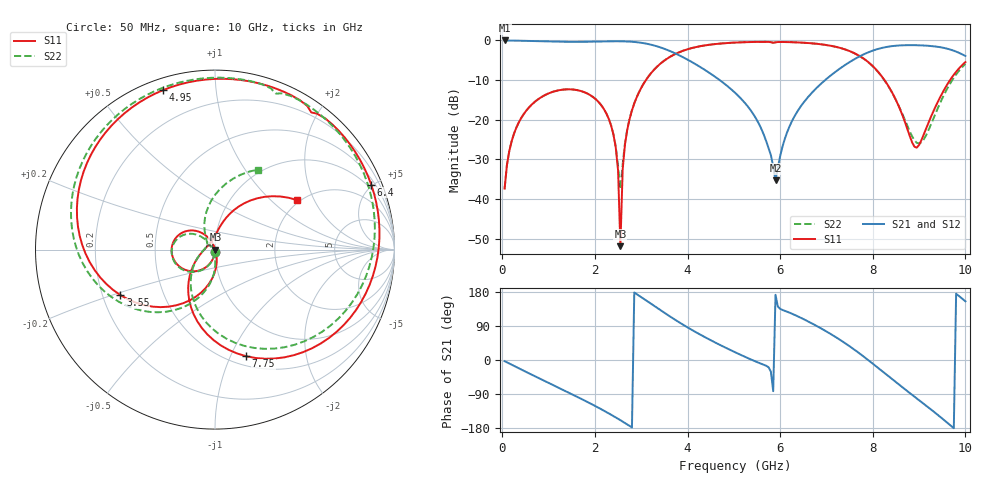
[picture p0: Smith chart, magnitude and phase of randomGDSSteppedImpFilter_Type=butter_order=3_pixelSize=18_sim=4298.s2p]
! freq	dB(S11)	phase(S11)	dB(S12)	phase(S12)
!  dB(S21)	phase(S21)	dB(S22)	phase(S22)
!S-par simulation data
#  GHz  S  DB  R 50
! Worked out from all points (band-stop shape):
!   200 points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, 50 MHz to 10 GHz, reference 50 ohm
!   highest |S21| = -0.01 dB at 50 MHz (marker M1); lowest = -35.3 dB at 5.9 GHz (marker M2)
!   |S21| within 3 dB of the highest: start of sweep to 3.686 GHz; 7.902 GHz to 9.839 GHz (1.938 GHz wide, 21.8 % of centre)
!   lowest |S11| = -51.9 dB at 2.55 GHz (marker M3), VSWR 1.01, Z = 50.3 - j0.00632 ohm
!   |S11| at or under -10 dB: start of sweep to 3.102 GHz; 8.253 GHz to 9.669 GHz (1.416 GHz wide, 15.8 % of centre)
!   |S22| runs from -37.5 to -0.4 dB; largest |S21 - S12| = 0
!   S11 on the Smith chart (normalised r, x): 50 MHz: 1.00, -0.03; 3.55 GHz: 0.27, -0.21; 4.95 GHz: 0.05, +0.73; 6.4 GHz: 0.75, +4.90; 7.75 GHz: 0.60, -1.15; 10 GHz: 1.92, +1.49
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0.05  -37.36 -92.2  -0.01 -3.1  -0.01 -3.1  -37.36 -92.1
0.2  -25.48 -102.6  -0.03 -12.3  -0.03 -12.3  -25.48 -102.1
0.55  -17.24 -124.7  -0.13 -33.6  -0.13 -33.6  -17.24 -123.3
1.75  -12.96 161.7  -0.36 -105.3  -0.36 -105.3  -12.96 167.2
2.4  -23.73 117.2  -0.21 -147.9  -0.21 -147.9  -23.63 133.8
2.5  -32.74 107.3  -0.21 -155.1  -0.21 -155.1  -31.73 145.4
2.55  -51.86 -1.4  -0.22 -158.8  -0.22 -158.8  -37.50 -155.6
2.6  -32.40 -72.3  -0.23 -162.6  -0.23 -162.6  -31.10 -100.5
2.7  -22.44 -82.8  -0.27 -170.2  -0.27 -170.2  -22.25 -88.8
3.4  -6.00 -141.8  -1.70 132.8  -1.70 132.8  -5.99 -136.2
3.55  -4.66 -154.3  -2.34 120.6  -2.34 120.6  -4.65 -147.9
4.2  -1.63 156.3  -6.17 72.0  -6.17 72.0  -1.62 165.3
4.95  -0.59 108.0  -12.39 24.9  -12.39 24.9  -0.58 119.6
5.05  -0.53 102.0  -13.45 19.1  -13.45 19.1  -0.52 113.9
5.9  -0.47 53.1  -35.30 172.0  -35.30 172.0  -0.48 66.9
6.4  -0.51 22.6  -17.40 114.1  -17.40 114.1  -0.51 36.7
6.7  -0.74 3.7  -13.01 95.7  -13.01 95.7  -0.75 17.7
7.75  -4.17 -73.7  -3.81 14.0  -3.81 14.0  -4.20 -63.7
8.35  -11.76 -125.3  -1.54 -44.1  -1.54 -44.1  -11.81 -121.4
8.95  -27.02 134.3  -1.21 -101.3  -1.21 -101.3  -25.81 163.8
9.5  -13.30 67.5  -1.80 -154.5  -1.80 -154.5  -14.62 107.4
10  -5.46 31.2  -3.92 155.0  -3.92 155.0  -5.91 61.7
